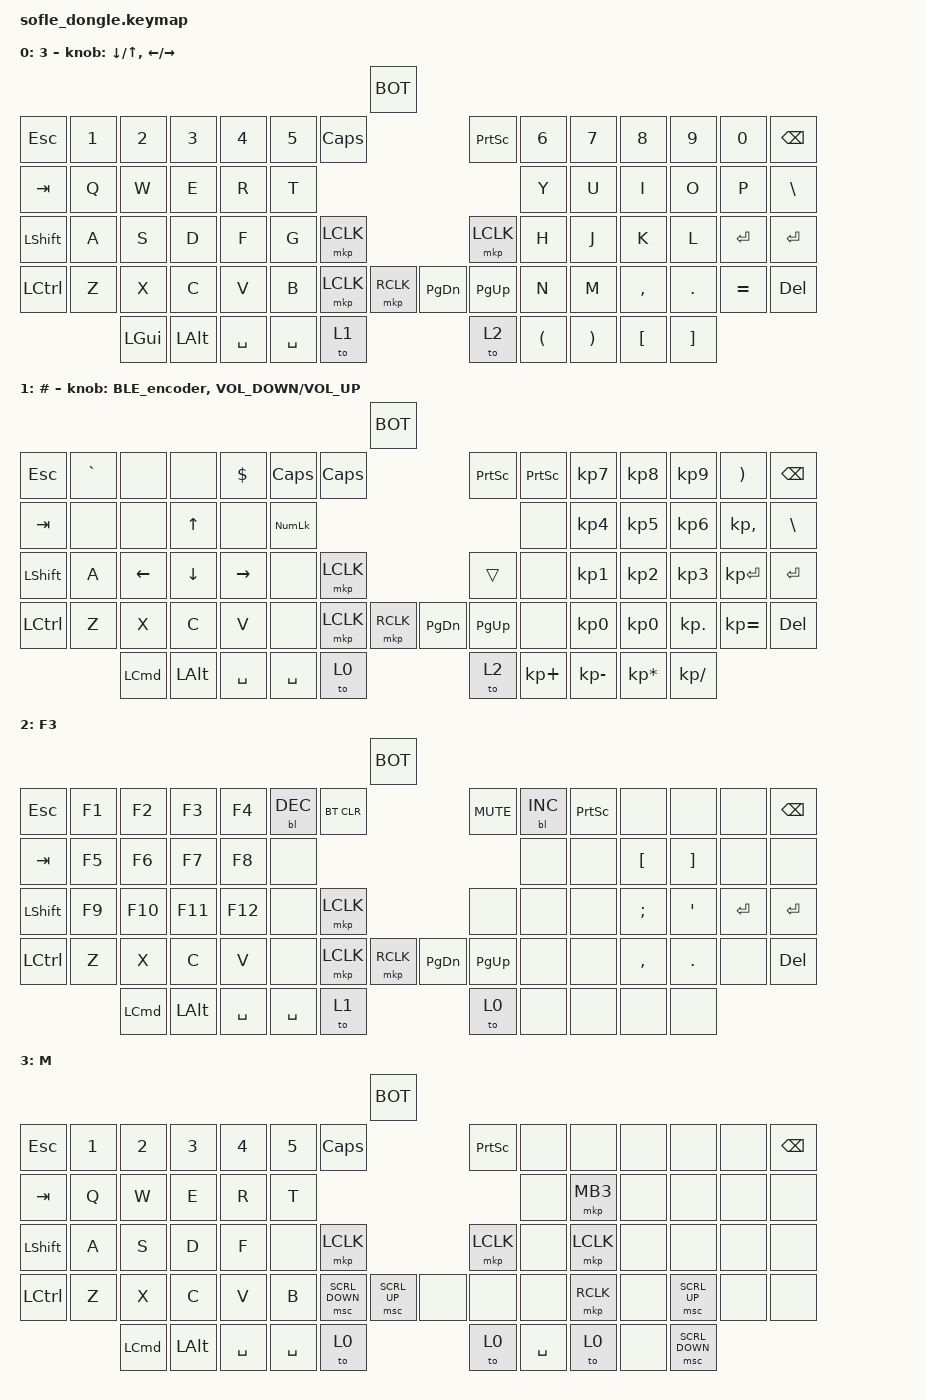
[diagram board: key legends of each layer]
/*
 * Copyright (c) 2025 ZitaoTech
 *
 * SPDX-License-Identifier: MIT
 */

#include <behaviors.dtsi>
#include <dt-bindings/zmk/behaviors.h>
#include <zephyr/dt-bindings/input/input-event-codes.h>
#include <dt-bindings/zmk/keys.h>
#include <dt-bindings/zmk/bt.h>
#include <dt-bindings/zmk/outputs.h>
#include <dt-bindings/zmk/mouse.h>
#include <dt-bindings/zmk/backlight.h>
#include <dt-bindings/zmk/ext_power.h>
#include <dt-bindings/zmk/rgb.h>

#define FUNC 1
#define RES 2
#define BOT bootloader

/ {
    input_processors {

        zip_temp_layer: zip_temp_layer {
            compatible = "zmk,input-processor-temp-layer";
            #input-processor-cells = <2>;
        };

        ip_behaviors0: ip_behaviors0 {
            compatible = "zmk,input-processor-behaviors";
            #input-processor-cells = <0>;
            type = <INPUT_EV_KEY>;
            codes = <INPUT_BTN_0>;
            bindings = <&kp RIGHT>;
        };
        ip_behaviors1: ip_behaviors1 {
            compatible = "zmk,input-processor-behaviors";
            #input-processor-cells = <0>;
            type = <INPUT_EV_KEY>;
            codes = <INPUT_BTN_1>;
            bindings = <&kp LEFT>;
        };
        ip_behaviors2: ip_behaviors2 {
            compatible = "zmk,input-processor-behaviors";
            #input-processor-cells = <0>;
            type = <INPUT_EV_KEY>;
            codes = <INPUT_BTN_2>;
            bindings = <&kp DOWN>;
        };
        ip_behaviors3: ip_behaviors3 {
            compatible = "zmk,input-processor-behaviors";
            #input-processor-cells = <0>;
            type = <INPUT_EV_KEY>;
            codes = <INPUT_BTN_3>;
            bindings = <&kp UP>;
        };
    };
};

/ {
    behaviors {
        td0: tap_dance_0 {
            compatible = "zmk,behavior-tap-dance";
            #binding-cells = <0>;
            tapping-term-ms = <400>;
            bindings = <&mkp LCLK>, <&bt BT_CLR>;
        };
    };
    behaviors {
        hm: homerow_mods {
            compatible = "zmk,behavior-hold-tap";
            #binding-cells = <2>;
            tapping-term-ms = <500>;
            bindings = <&kp &kp>;
        };
    };

    behaviors {
         sp_sc: behavior_spacescroll {
           compatible = "zmk,behavior-hold-tap";
           #binding-cells = <2>;
           flavor = "tap-preferred";     /* 单击优先 */
           tapping-term-ms = <200>;       /* 长按阈值 */
           bindings = <&none &kp>;        /* hold=none, tap=space */
        };
    };

    behaviors {
        BLE_encoder: BLE_encoder {
            compatible = "zmk,behavior-sensor-rotate";
            #sensor-binding-cells = <0>;
            bindings = <&bt BT_NXT>, <&bt BT_PRV>;
        };
    };

    keymap {
        compatible = "zmk,keymap";

         default_layer {
            display-name = "3";
           bindings = <
                                                                            &BOT
&kp ESC    &kp N1   &kp N2     &kp N3   &kp N4     &kp N5    &kp CAPS                      &kp PRINTSCREEN          &kp N6       &kp N7      &kp N8     &kp N9    &kp N0     &kp BSPC            
&kp TAB    &kp Q    &kp W      &kp E    &kp R      &kp T                                                            &kp Y        &kp U       &kp I      &kp O     &kp P      &kp BSLH
&kp LSHFT  &kp A    &kp S      &kp D    &kp F      &kp G     &mkp LCLK                     &mkp LCLK                &kp H        &kp J       &kp K      &kp L     &kp RETURN &kp RETURN
&kp LCTRL  &kp Z    &kp X      &kp C    &kp V      &kp B     &mkp LCLK   &mkp RCLK         &kp PAGE_DOWN   &kp PAGE_UP  &kp N        &kp M       &kp COMMA  &kp DOT   &kp EQUAL  &kp DEL
                    &kp LGUI   &kp LALT &kp SPACE  &kp SPACE &to 1                         &to 2                    &kp LPAR     &kp RPAR    &kp LBKT   &kp RBKT
           >;
           sensor-bindings = <&inc_dec_kp DOWN UP>, <&inc_dec_kp LEFT RIGHT>;
        };


        lower_layer {
            display-name = "#";
            bindings = <
                                                                                 &BOT
&kp ESC     &kp GRAVE  &none      &none      &kp DOLLAR  &kp CAPS      &kp CAPS                         &kp PRINTSCREEN                 &kp PRINTSCREEN         &kp KP_N7      &kp KP_N8        &kp KP_N9      &kp RPAR      &kp BACKSPACE
&kp TAB     &none     &none      &kp UP     &none       &kp KP_NUMLOCK                                                                      &none         &kp KP_N4     &kp KP_N5         &kp KP_N6      &kp KP_COMMA  &kp BACKSLASH
&kp LSHFT   &kp A     &kp LEFT   &kp DOWN   &kp RIGHT   &none      &mkp LCLK                        &trans                          &none         &kp KP_N1      &kp KP_N2        &kp KP_N3      &kp KP_ENTER  &kp RETURN
&kp LCTRL   &kp Z     &kp X      &kp C      &kp V       &none      &mkp LCLK    &mkp RCLK           &kp PAGE_DOWN    &kp PAGE_UP      &none         &kp KP_N0      &kp KP_N0        &kp KP_DOT     &kp KP_EQUAL  &kp DEL
                      &kp LCMD   &kp LALT   &kp SPACE   &kp SPACE  &to 0                            &to 2                           &kp KP_PLUS   &kp KP_MINUS   &kp KP_ASTERISK  &kp KP_DIVIDE

            >;
            sensor-bindings = <&BLE_encoder>,
                              <&inc_dec_kp C_VOLUME_DOWN C_VOLUME_UP>;
        };

        raise_layer {
            display-name = "F3";
            bindings = <
                                                                       &BOT
&kp ESC     &kp F1    &kp F2     &kp F3     &kp F4     &bl BL_DEC  &bt BT_CLR                &kp C_MUTE                &bl BL_INC   &kp PRINTSCREEN       &none      &none       &none       &kp BACKSPACE
&kp TAB     &kp F5    &kp F6     &kp F7     &kp F8     &none                                                           &none        &none       &kp LBKT   &kp RBKT    &none       &none
&kp LSHFT   &kp F9    &kp F10    &kp F11    &kp F12    &none       &mkp LCLK                 &none                     &none        &none       &kp SEMI   &kp APOS    &kp RETURN  &kp RETURN
&kp LCTRL   &kp Z     &kp X      &kp C      &kp V      &none       &mkp LCLK    &mkp RCLK    &kp PAGE_DOWN  &kp PAGE_UP  &none        &none       &kp COMMA  &kp DOT     &none       &kp DEL
                      &kp LCMD   &kp LALT   &kp SPACE  &kp SPACE   &to 1                     &to 0                     &none        &none       &none      &none
            >;
        }; 
        MOUSE_layer {
            display-name = "M";
            bindings = <
                                                                         &BOT
&kp ESC   &kp N1    &kp N2     &kp N3   &kp N4   &kp N5     &kp CAPS                       &kp PRINTSCREEN       &none      &none      &none   &none         &none  &kp BSPC            
&kp TAB   &kp Q     &kp W      &kp E    &kp R    &kp T                                                        &none      &mkp MB3   &none   &none         &none  &none
&kp LSHFT  &kp A     &kp S      &kp D    &kp F    &none      &mkp LCLK                        &mkp LCLK        &none      &mkp LCLK  &none   &none         &none  &none
&kp LCTRL &kp Z     &kp X      &kp C    &kp V    &kp B      &msc SCRL_DOWN   &msc SCRL_UP    &none  &none     &none      &mkp RCLK  &none   &msc SCRL_UP  &none  &none
                    &kp LCMD   &kp LALT   &kp SPACE  &kp SPACE  &to 0                                   &to 0     &kp SPACE  &to 0      &none   &msc SCRL_DOWN
            >;
        };

    };
};
